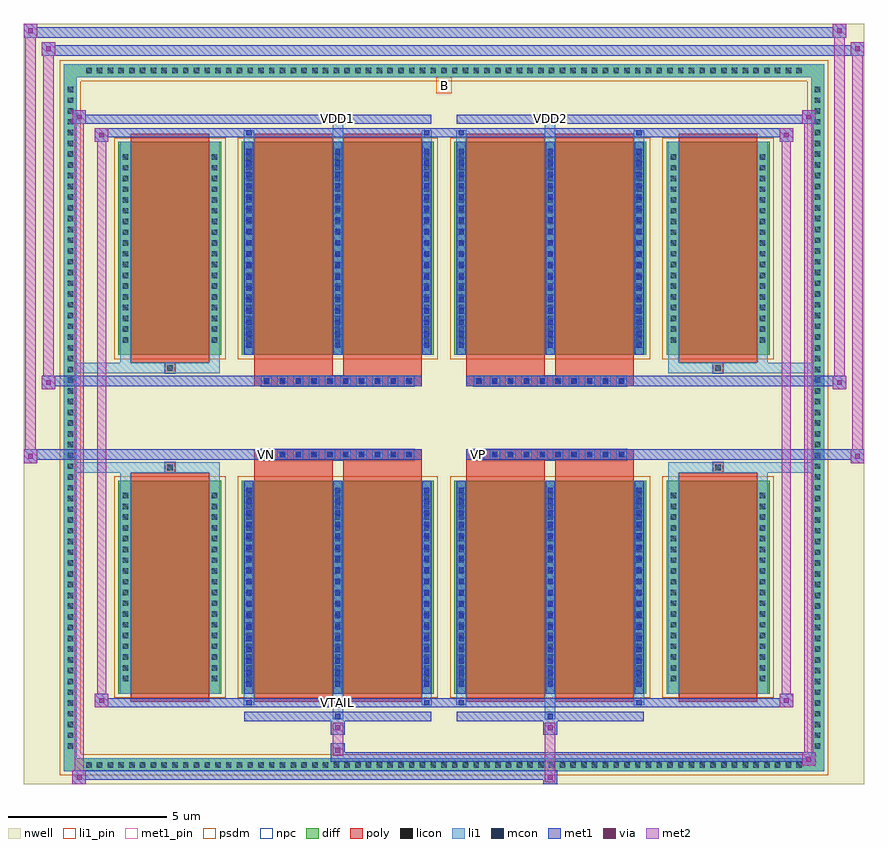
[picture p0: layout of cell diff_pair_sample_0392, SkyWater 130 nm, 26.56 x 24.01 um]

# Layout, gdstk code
import gdstk
lib = gdstk.Library(unit=1e-6, precision=5e-09)
def R(c, l, rs):  # rectangles x0, y0, x1, y1
    for r in rs: c.add(gdstk.rectangle(r[:2], r[2:], *l))
def A(c, l, x, y, w, h, nx, ny, dx, dy):  # array of equal rectangles
    R(c, l, [(x+i*dx, y+j*dy, x+i*dx+w, y+j*dy+h) for i in range(nx) for j in range(ny)])
def P(c, l, *ps):  # polygons
    for p in ps: c.add(gdstk.Polygon(p, *l))
nwell = (64, 20)
diff = (65, 20)
poly = (66, 20)
licon = (66, 44)
li1_pin = (67, 16)
li1 = (67, 20)
mcon = (67, 44)
met1_pin = (68, 16)
met1 = (68, 20)
via = (68, 44)
met2 = (69, 20)
psdm = (94, 20)
npc = (95, 20)

diff_pair_sample_0392 = lib.new_cell('diff_pair_sample_0392')
R(diff_pair_sample_0392, nwell, [(-13.28,-11.57,13.28,12.44), (-10.6,-9.76,-0.01,-0.8), (0.01,-9.76,10.6,-0.8), (-10.6,0.8,-0.01,9.76), (0.01,0.8,10.6,9.76)])
A(diff_pair_sample_0392, diff, -11.425, -11.17, 0.41, 0.41, 67, 2, 0.34, 21.93)
A(diff_pair_sample_0392, diff, -12.01, -10.575, 0.41, 0.41, 1, 62, 0, 0.34)
A(diff_pair_sample_0392, diff, 11.6, -10.575, 0.41, 0.41, 1, 62, 0, 0.34)
R(diff_pair_sample_0392, diff, [(-11.425,-11.17,11.425,-10.76), (-12.01,-10.575,-11.6,10.575), (11.6,-10.575,12.01,10.575), (-10.29,-8.715,-7.03,-1.985), (-6.39,-8.715,-0.32,-1.985), (0.32,-8.715,6.39,-1.985), (7.03,-8.715,10.29,-1.985), (-10.29,1.985,-7.03,8.715), (-6.39,1.985,-0.32,8.715), (0.32,1.985,6.39,8.715), (7.03,1.985,10.29,8.715), (-11.425,10.76,11.425,11.17)])
P(diff_pair_sample_0392, diff, [(12.01,11.17),(-12.01,11.17),(-12.01,-10.76),(-11.6,-10.76),(-11.6,10.76),(11.6,10.76),(11.6,-10.76),(-11.6,-10.76),(-12.01,-10.76),(-12.01,-11.17),(12.01,-11.17)])
A(diff_pair_sample_0392, poly, -5.77, -1.33, 0.33, 0.33, 10, 2, 0.5, 2.33)
A(diff_pair_sample_0392, poly, 0.94, -1.33, 0.33, 0.33, 10, 2, 0.5, 2.33)
R(diff_pair_sample_0392, poly, [(-9.9,-8.965,-7.42,-1.735), (-6,-8.965,-3.52,-1.735), (-3.19,-8.965,-0.71,-1.735), (0.71,-8.965,3.19,-1.735), (3.52,-8.965,6,-1.735), (7.42,-8.965,9.9,-1.735), (-8.825,-1.735,-8.495,-1.405), (-8.825,-1.735,-8.495,-1.405), (-6,-1.735,-3.52,-1.33), (-3.19,-1.735,-0.71,-1.33), (0.71,-1.735,3.19,-1.33), (3.52,-1.735,6,-1.33), (8.495,-1.735,8.825,-1.405), (8.495,-1.735,8.825,-1.405), (-6,-1.33,-0.71,-1), (0.71,-1.33,6,-1), (-6,1,-0.71,1.33), (0.71,1,6,1.33), (-6,1.33,-3.52,1.735), (-3.19,1.33,-0.71,1.735), (0.71,1.33,3.19,1.735), (3.52,1.33,6,1.735), (-8.825,1.405,-8.495,1.735), (-8.825,1.405,-8.495,1.735), (8.495,1.405,8.825,1.735), (8.495,1.405,8.825,1.735), (-9.9,1.735,-7.42,8.965), (-6,1.735,-3.52,8.965), (-3.19,1.735,-0.71,8.965), (0.71,1.735,3.19,8.965), (3.52,1.735,6,8.965), (7.42,1.735,9.9,8.965)])
A(diff_pair_sample_0392, licon, -11.305, -11.05, 0.17, 0.17, 67, 2, 0.34, 21.93)
A(diff_pair_sample_0392, licon, -11.89, -10.455, 0.17, 0.17, 1, 62, 0, 0.34)
A(diff_pair_sample_0392, licon, 11.72, -10.455, 0.17, 0.17, 1, 62, 0, 0.34)
A(diff_pair_sample_0392, licon, -10.15, -8.325, 0.17, 0.17, 1, 18, 0, 0.34)
A(diff_pair_sample_0392, licon, -7.34, -8.325, 0.17, 0.17, 1, 18, 0, 0.34)
A(diff_pair_sample_0392, licon, -6.25, -8.325, 0.17, 0.17, 3, 18, 2.81, 0.34)
A(diff_pair_sample_0392, licon, 0.46, -8.325, 0.17, 0.17, 3, 18, 2.81, 0.34)
A(diff_pair_sample_0392, licon, 7.17, -8.325, 0.17, 0.17, 1, 18, 0, 0.34)
A(diff_pair_sample_0392, licon, 9.98, -8.325, 0.17, 0.17, 1, 18, 0, 0.34)
A(diff_pair_sample_0392, licon, -5.69, -1.25, 0.17, 0.17, 10, 2, 0.5, 2.33)
A(diff_pair_sample_0392, licon, 1.02, -1.25, 0.17, 0.17, 10, 2, 0.5, 2.33)
A(diff_pair_sample_0392, licon, -10.15, 2.375, 0.17, 0.17, 1, 18, 0, 0.34)
A(diff_pair_sample_0392, licon, -7.34, 2.375, 0.17, 0.17, 1, 18, 0, 0.34)
A(diff_pair_sample_0392, licon, -6.25, 2.375, 0.17, 0.17, 3, 18, 2.81, 0.34)
A(diff_pair_sample_0392, licon, 0.46, 2.375, 0.17, 0.17, 3, 18, 2.81, 0.34)
A(diff_pair_sample_0392, licon, 7.17, 2.375, 0.17, 0.17, 1, 18, 0, 0.34)
A(diff_pair_sample_0392, licon, 9.98, 2.375, 0.17, 0.17, 1, 18, 0, 0.34)
R(diff_pair_sample_0392, licon, [(-8.745,-1.655,-8.575,-1.485), (8.575,-1.655,8.745,-1.485), (-8.745,1.485,-8.575,1.655), (8.575,1.485,8.745,1.655)])
R(diff_pair_sample_0392, li1_pin, [(-0.25,10.26,0.25,10.76)])
A(diff_pair_sample_0392, li1, -11.385, -11.13, 0.33, 0.33, 67, 2, 0.34, 21.93)
A(diff_pair_sample_0392, li1, -11.97, -10.535, 0.33, 0.33, 1, 62, 0, 0.34)
A(diff_pair_sample_0392, li1, 11.64, -10.535, 0.33, 0.33, 1, 62, 0, 0.34)
A(diff_pair_sample_0392, li1, -6.33, -8.715, 0.33, 6.73, 3, 2, 2.81, 10.7)
A(diff_pair_sample_0392, li1, 0.38, -8.715, 0.33, 6.73, 3, 2, 2.81, 10.7)
A(diff_pair_sample_0392, li1, -6.25, -8.495, 0.17, 0.17, 3, 18, 2.81, 0.36)
A(diff_pair_sample_0392, li1, -6.25, -8.495, 0.17, 6.29, 3, 2, 2.81, 10.7)
A(diff_pair_sample_0392, li1, 0.46, -8.495, 0.17, 0.17, 3, 18, 2.81, 0.36)
A(diff_pair_sample_0392, li1, 0.46, -8.495, 0.17, 6.29, 3, 2, 2.81, 10.7)
A(diff_pair_sample_0392, li1, -10.23, -8.405, 0.33, 0.33, 1, 18, 0, 0.34)
A(diff_pair_sample_0392, li1, -7.42, -8.405, 0.33, 0.33, 1, 18, 0, 0.34)
A(diff_pair_sample_0392, li1, -6.33, -8.405, 0.33, 0.33, 3, 18, 2.81, 0.34)
A(diff_pair_sample_0392, li1, 0.38, -8.405, 0.33, 0.33, 3, 18, 2.81, 0.34)
A(diff_pair_sample_0392, li1, 7.09, -8.405, 0.33, 0.33, 1, 18, 0, 0.34)
A(diff_pair_sample_0392, li1, 9.9, -8.405, 0.33, 0.33, 1, 18, 0, 0.34)
A(diff_pair_sample_0392, li1, -5.77, -1.33, 0.33, 0.33, 10, 2, 0.5, 2.33)
A(diff_pair_sample_0392, li1, 0.94, -1.33, 0.33, 0.33, 10, 2, 0.5, 2.33)
A(diff_pair_sample_0392, li1, -6.25, 2.205, 0.17, 0.17, 3, 18, 2.81, 0.36)
A(diff_pair_sample_0392, li1, 0.46, 2.205, 0.17, 0.17, 3, 18, 2.81, 0.36)
A(diff_pair_sample_0392, li1, -10.23, 2.295, 0.33, 0.33, 1, 18, 0, 0.34)
A(diff_pair_sample_0392, li1, -7.42, 2.295, 0.33, 0.33, 1, 18, 0, 0.34)
A(diff_pair_sample_0392, li1, -6.33, 2.295, 0.33, 0.33, 3, 18, 2.81, 0.34)
A(diff_pair_sample_0392, li1, 0.38, 2.295, 0.33, 0.33, 3, 18, 2.81, 0.34)
A(diff_pair_sample_0392, li1, 7.09, 2.295, 0.33, 0.33, 1, 18, 0, 0.34)
A(diff_pair_sample_0392, li1, 9.9, 2.295, 0.33, 0.33, 1, 18, 0, 0.34)
R(diff_pair_sample_0392, li1, [(-12.01,-11.17,-11.6,-10.76), (-12.01,-11.17,-11.6,-10.76), (-11.6,-11.17,11.6,-10.76), (11.6,-11.17,12.01,-10.76), (11.6,-11.17,12.01,-10.76), (-12.01,-10.76,-11.6,10.76), (11.6,-10.76,12.01,10.76), (-3.52,-9.52,-3.19,-8.715), (-3.44,-9.52,-3.27,-9.35), (3.19,-9.52,3.52,-8.715), (3.27,-9.52,3.44,-9.35), (-6.33,-9.09,-6,-8.715), (-6.25,-9.09,-6.08,-8.92), (-0.71,-9.09,-0.38,-8.715), (-0.63,-9.09,-0.46,-8.92), (0.38,-9.09,0.71,-8.715), (0.46,-9.09,0.63,-8.92), (6,-9.09,6.33,-8.715), (6.08,-9.09,6.25,-8.92), (-10.23,-8.715,-9.9,-1.985), (-7.42,-8.715,-7.09,-1.985), (7.09,-8.715,7.42,-1.985), (9.9,-8.715,10.23,-1.985), (-10.23,-1.985,-9.9,-1.405), (-7.42,-1.985,-7.09,-1.405), (7.09,-1.985,7.42,-1.405), (9.9,-1.985,10.23,-1.405), (-12.01,-1.735,-8.825,-1.405), (-10.23,-1.735,-8.825,-1.405), (-8.825,-1.735,-8.495,-1.405), (-8.495,-1.735,-7.09,-1.405), (7.09,-1.735,8.495,-1.405), (8.495,-1.735,8.825,-1.405), (8.495,-1.735,12.01,-1.405), (8.825,-1.735,10.23,-1.405), (-12.01,1.405,-8.825,1.735), (-10.23,1.405,-8.825,1.735), (-10.23,1.405,-9.9,1.985), (-8.825,1.405,-8.495,1.735), (-8.495,1.405,-7.09,1.735), (-7.42,1.405,-7.09,1.985), (7.09,1.405,8.495,1.735), (7.09,1.405,7.42,1.985), (8.495,1.405,8.825,1.735), (8.495,1.405,12.01,1.735), (8.825,1.405,10.23,1.735), (9.9,1.405,10.23,1.985), (-10.23,1.985,-9.9,8.715), (-7.42,1.985,-7.09,8.715), (7.09,1.985,7.42,8.715), (9.9,1.985,10.23,8.715), (-6.33,8.715,-6,9.09), (-3.52,8.715,-3.19,9.52), (-0.71,8.715,-0.38,9.09), (0.38,8.715,0.71,9.09), (3.19,8.715,3.52,9.52), (6,8.715,6.33,9.09), (-6.25,8.92,-6.08,9.09), (-0.63,8.92,-0.46,9.09), (0.46,8.92,0.63,9.09), (6.08,8.92,6.25,9.09), (-3.44,9.35,-3.27,9.52), (3.27,9.35,3.44,9.52), (-12.01,10.76,-11.6,11.17), (-12.01,10.76,-11.6,11.17), (-11.6,10.76,11.6,11.17), (11.6,10.76,12.01,11.17), (11.6,10.76,12.01,11.17)])
A(diff_pair_sample_0392, mcon, -6.25, -8.495, 0.17, 0.17, 3, 18, 2.81, 0.36)
A(diff_pair_sample_0392, mcon, 0.46, -8.495, 0.17, 0.17, 3, 18, 2.81, 0.36)
A(diff_pair_sample_0392, mcon, -5.69, -1.25, 0.17, 0.17, 10, 2, 0.5, 2.33)
A(diff_pair_sample_0392, mcon, 1.02, -1.25, 0.17, 0.17, 10, 2, 0.5, 2.33)
A(diff_pair_sample_0392, mcon, -6.25, 2.205, 0.17, 0.17, 3, 18, 2.81, 0.36)
A(diff_pair_sample_0392, mcon, 0.46, 2.205, 0.17, 0.17, 3, 18, 2.81, 0.36)
R(diff_pair_sample_0392, mcon, [(-3.44,-9.52,-3.27,-9.35), (3.27,-9.52,3.44,-9.35), (-6.25,-9.09,-6.08,-8.92), (-0.63,-9.09,-0.46,-8.92), (0.46,-9.09,0.63,-8.92), (6.08,-9.09,6.25,-8.92), (-6.25,8.92,-6.08,9.09), (-0.63,8.92,-0.46,9.09), (0.46,8.92,0.63,9.09), (6.08,8.92,6.25,9.09), (-3.44,9.35,-3.27,9.52), (3.27,9.35,3.44,9.52)])
R(diff_pair_sample_0392, met1_pin, [(-3.49,-9.13,-3.22,-8.86), (-5.74,-1.29,-5.47,-1.02), (0.97,-1.29,1.24,-1.02), (-3.49,9.31,-3.22,9.58), (3.22,9.31,3.49,9.58)])
A(diff_pair_sample_0392, met1, -6.31, -8.715, 0.29, 6.73, 3, 2, 2.81, 10.7)
A(diff_pair_sample_0392, met1, 0.4, -8.715, 0.29, 6.73, 3, 2, 2.81, 10.7)
A(diff_pair_sample_0392, met1, -6.31, -8.555, 0.29, 0.29, 3, 18, 2.81, 0.36)
A(diff_pair_sample_0392, met1, 0.4, -8.555, 0.29, 0.29, 3, 18, 2.81, 0.36)
A(diff_pair_sample_0392, met1, -5.75, -1.31, 0.29, 0.29, 10, 2, 0.5, 2.33)
A(diff_pair_sample_0392, met1, 0.96, -1.31, 0.29, 0.29, 10, 2, 0.5, 2.33)
A(diff_pair_sample_0392, met1, -6.31, 2.145, 0.29, 0.29, 3, 18, 2.81, 0.36)
A(diff_pair_sample_0392, met1, 0.4, 2.145, 0.29, 0.29, 3, 18, 2.81, 0.36)
R(diff_pair_sample_0392, met1, [(-11.74,-11.57,-11.31,-11.14), (3.14,-11.57,3.57,-11.14), (-11.74,-11.43,3.57,-11.14), (11.31,-11,11.74,-10.57), (-3.57,-10.86,11.74,-10.57), (-3.57,-10.72,-3.14,-10.29), (-3.57,-10.01,-3.14,-9.58), (3.14,-10.01,3.57,-9.58), (-6.31,-9.58,-0.4,-9.29), (-3.5,-9.58,-3.21,-9.29), (0.4,-9.58,6.31,-9.29), (3.21,-9.58,3.5,-9.29), (-11.03,-9.15,-10.6,-8.72), (-11.03,-9.15,-6.31,-8.86), (-6.31,-9.15,-6.02,-8.86), (-6.31,-9.15,-0.4,-8.86), (-0.69,-9.15,-0.4,-8.86), (-0.4,-9.15,0.4,-8.86), (0.4,-9.15,0.69,-8.86), (0.4,-9.15,6.31,-8.86), (6.02,-9.15,6.31,-8.86), (6.31,-9.15,11.03,-8.86), (10.6,-9.15,11.03,-8.72), (-13.28,-1.43,-12.85,-1), (12.85,-1.43,13.28,-1), (-13.28,-1.33,-0.71,-1), (-6,-1.33,-0.71,-1), (0.71,-1.33,6,-1), (0.71,-1.33,13.28,-1), (-12.71,0.9,-12.28,1.33), (12.28,0.9,12.71,1.33), (-12.71,1,-6,1.33), (-6,1,-0.71,1.33), (0.71,1,6,1.33), (6,1,12.71,1.33), (-11.03,8.72,-10.6,9.15), (10.6,8.72,11.03,9.15), (-11.03,8.86,-6.31,9.15), (-6.31,8.86,-6.02,9.15), (-6.31,8.86,-0.4,9.15), (-0.69,8.86,-0.4,9.15), (-0.4,8.86,0.4,9.15), (0.4,8.86,0.69,9.15), (0.4,8.86,6.31,9.15), (6.02,8.86,6.31,9.15), (6.31,8.86,11.03,9.15), (-11.74,9.29,-11.31,9.72), (-11.74,9.29,-6.31,9.58), (-6.31,9.29,-0.4,9.58), (-3.5,9.29,-3.21,9.58), (0.4,9.29,6.31,9.58), (3.21,9.29,3.5,9.58), (6.31,9.29,11.74,9.58), (11.31,9.29,11.74,9.72), (-12.71,11.44,-12.28,11.87), (-12.71,11.44,-10.6,11.77), (-10.6,11.44,10.6,11.77), (10.6,11.44,13.28,11.77), (12.85,11.44,13.28,11.87), (-13.28,12.01,-12.85,12.44), (-13.28,12.01,-10.6,12.34), (-10.6,12.01,10.6,12.34), (10.6,12.01,12.71,12.34), (12.28,12.01,12.71,12.44)])
R(diff_pair_sample_0392, via, [(-11.6,-11.43,-11.45,-11.28), (3.28,-11.43,3.43,-11.28), (11.45,-10.86,11.6,-10.71), (-3.43,-10.58,-3.28,-10.43), (-3.43,-9.87,-3.28,-9.72), (3.28,-9.87,3.43,-9.72), (-10.89,-9.01,-10.74,-8.86), (10.74,-9.01,10.89,-8.86), (-13.14,-1.29,-12.99,-1.14), (12.99,-1.29,13.14,-1.14), (-12.57,1.04,-12.42,1.19), (12.42,1.04,12.57,1.19), (-10.89,8.86,-10.74,9.01), (10.74,8.86,10.89,9.01), (-11.6,9.43,-11.45,9.58), (11.45,9.43,11.6,9.58), (-12.57,11.58,-12.42,11.73), (12.99,11.58,13.14,11.73), (-13.14,12.15,-12.99,12.3), (12.42,12.15,12.57,12.3)])
R(diff_pair_sample_0392, met2, [(-11.74,-11.57,-11.31,-11.14), (-11.67,-11.57,-11.38,9.72), (-11.38,-11.57,-11.31,-11.14), (-11.69,-11.52,-11.36,-11.19), (3.19,-11.52,3.52,-11.19), (3.19,-11.19,3.52,-9.96), (11.31,-11,11.74,-10.57), (11.38,-11,11.67,9.72), (11.67,-11,11.74,-10.57), (11.36,-10.95,11.69,-10.62), (-3.52,-10.67,-3.19,-10.34), (-3.52,-10.34,-3.19,-9.96), (-3.52,-9.96,-3.19,-9.63), (3.19,-9.96,3.52,-9.63), (-11.03,-9.15,-10.6,-8.72), (-10.96,-9.15,-10.67,9.15), (-10.67,-9.15,-10.6,-8.72), (10.6,-9.15,11.03,-8.72), (10.67,-9.15,10.96,9.15), (10.96,-9.15,11.03,-8.72), (-10.98,-9.1,-10.65,-8.77), (10.65,-9.1,10.98,-8.77), (-13.28,-1.43,-12.85,-1), (-13.23,-1.43,-12.9,12.44), (-12.9,-1.43,-12.85,-1), (12.85,-1.43,13.28,-1), (12.9,-1.43,13.23,11.87), (13.23,-1.43,13.28,-1), (-13.23,-1.38,-12.9,-1.05), (12.9,-1.38,13.23,-1.05), (-12.71,0.9,-12.28,1.33), (-12.66,0.9,-12.33,11.87), (-12.33,0.9,-12.28,1.33), (12.28,0.9,12.71,1.33), (12.33,0.9,12.66,12.44), (12.66,0.9,12.71,1.33), (-12.66,0.95,-12.33,1.28), (12.33,0.95,12.66,1.28), (-11.03,8.72,-10.6,9.15), (-10.67,8.72,-10.6,9.15), (10.6,8.72,11.03,9.15), (10.96,8.72,11.03,9.15), (-10.98,8.77,-10.65,9.1), (10.65,8.77,10.98,9.1), (-11.74,9.29,-11.31,9.72), (-11.38,9.29,-11.31,9.72), (11.31,9.29,11.74,9.72), (11.67,9.29,11.74,9.72), (-11.69,9.34,-11.36,9.67), (11.36,9.34,11.69,9.67), (-12.71,11.44,-12.28,11.87), (-12.33,11.44,-12.28,11.87), (12.85,11.44,13.28,11.87), (13.23,11.44,13.28,11.87), (-12.66,11.49,-12.33,11.82), (12.9,11.49,13.23,11.82), (-13.28,12.01,-12.85,12.44), (-12.9,12.01,-12.85,12.44), (12.28,12.01,12.71,12.44), (12.66,12.01,12.71,12.44), (-13.23,12.06,-12.9,12.39), (12.33,12.06,12.66,12.39)])
R(diff_pair_sample_0392, psdm, [(-10.42,-8.845,-6.9,-1.855), (-6.52,-8.845,-0.19,-1.855), (0.19,-8.845,6.52,-1.855), (6.9,-8.845,10.42,-1.855), (-10.42,1.855,-6.9,8.845), (-6.52,1.855,-0.19,8.845), (0.19,1.855,6.52,8.845), (6.9,1.855,10.42,8.845)])
P(diff_pair_sample_0392, psdm, [(12.14,11.3),(-12.14,11.3),(-12.14,-10.63),(-11.47,-10.63),(-11.47,10.63),(11.47,10.63),(11.47,-10.63),(-11.47,-10.63),(-12.14,-10.63),(-12.14,-11.3),(12.14,-11.3)])
A(diff_pair_sample_0392, npc, -5.79, -1.35, 0.37, 0.37, 10, 2, 0.5, 2.33)
A(diff_pair_sample_0392, npc, 0.92, -1.35, 0.37, 0.37, 10, 2, 0.5, 2.33)
R(diff_pair_sample_0392, npc, [(-8.845,-1.755,-8.475,-1.385), (8.475,-1.755,8.845,-1.385), (-5.79,-1.35,-4.92,-0.98), (-5.79,-1.35,-4.92,-0.98), (-5.29,-1.35,-4.42,-0.98), (-5.29,-1.35,-4.42,-0.98), (-4.79,-1.35,-3.92,-0.98), (-4.79,-1.35,-3.92,-0.98), (-4.29,-1.35,-3.42,-0.98), (-4.29,-1.35,-3.42,-0.98), (-3.79,-1.35,-2.92,-0.98), (-3.79,-1.35,-2.92,-0.98), (-3.29,-1.35,-2.42,-0.98), (-3.29,-1.35,-2.42,-0.98), (-2.79,-1.35,-1.92,-0.98), (-2.79,-1.35,-1.92,-0.98), (-2.29,-1.35,-1.42,-0.98), (-2.29,-1.35,-1.42,-0.98), (-1.79,-1.35,-0.92,-0.98), (-1.79,-1.35,-0.92,-0.98), (0.92,-1.35,1.79,-0.98), (0.92,-1.35,1.79,-0.98), (1.42,-1.35,2.29,-0.98), (1.42,-1.35,2.29,-0.98), (1.92,-1.35,2.79,-0.98), (1.92,-1.35,2.79,-0.98), (2.42,-1.35,3.29,-0.98), (2.42,-1.35,3.29,-0.98), (2.92,-1.35,3.79,-0.98), (2.92,-1.35,3.79,-0.98), (3.42,-1.35,4.29,-0.98), (3.42,-1.35,4.29,-0.98), (3.92,-1.35,4.79,-0.98), (3.92,-1.35,4.79,-0.98), (4.42,-1.35,5.29,-0.98), (4.42,-1.35,5.29,-0.98), (4.92,-1.35,5.79,-0.98), (4.92,-1.35,5.79,-0.98), (-5.79,0.98,-4.92,1.35), (-5.79,0.98,-4.92,1.35), (-5.29,0.98,-4.42,1.35), (-5.29,0.98,-4.42,1.35), (-4.79,0.98,-3.92,1.35), (-4.79,0.98,-3.92,1.35), (-4.29,0.98,-3.42,1.35), (-4.29,0.98,-3.42,1.35), (-3.79,0.98,-2.92,1.35), (-3.79,0.98,-2.92,1.35), (-3.29,0.98,-2.42,1.35), (-3.29,0.98,-2.42,1.35), (-2.79,0.98,-1.92,1.35), (-2.79,0.98,-1.92,1.35), (-2.29,0.98,-1.42,1.35), (-2.29,0.98,-1.42,1.35), (-1.79,0.98,-0.92,1.35), (-1.79,0.98,-0.92,1.35), (0.92,0.98,1.79,1.35), (0.92,0.98,1.79,1.35), (1.42,0.98,2.29,1.35), (1.42,0.98,2.29,1.35), (1.92,0.98,2.79,1.35), (1.92,0.98,2.79,1.35), (2.42,0.98,3.29,1.35), (2.42,0.98,3.29,1.35), (2.92,0.98,3.79,1.35), (2.92,0.98,3.79,1.35), (3.42,0.98,4.29,1.35), (3.42,0.98,4.29,1.35), (3.92,0.98,4.79,1.35), (3.92,0.98,4.79,1.35), (4.42,0.98,5.29,1.35), (4.42,0.98,5.29,1.35), (4.92,0.98,5.79,1.35), (4.92,0.98,5.79,1.35), (-8.845,1.385,-8.475,1.755), (8.475,1.385,8.845,1.755)])
diff_pair_sample_0392.add(gdstk.Label('VTAIL', (-3.355,-8.995), layer=68, texttype=5))
diff_pair_sample_0392.add(gdstk.Label('VN', (-5.605,-1.155), layer=68, texttype=5))
diff_pair_sample_0392.add(gdstk.Label('VP', (1.105,-1.155), layer=68, texttype=5))
diff_pair_sample_0392.add(gdstk.Label('B', (0,10.51), layer=67, texttype=5))
diff_pair_sample_0392.add(gdstk.Label('VDD2', (3.355,9.445), layer=68, texttype=5))
diff_pair_sample_0392.add(gdstk.Label('VDD1', (-3.355,9.445), layer=68, texttype=5))

lib.write_gds('diff_pair_sample_0392.gds')
